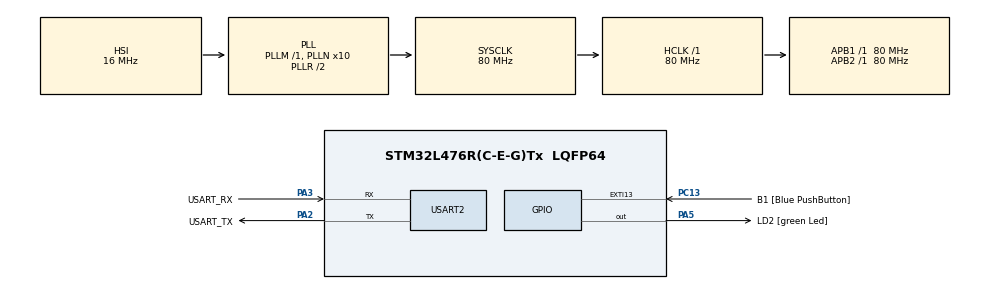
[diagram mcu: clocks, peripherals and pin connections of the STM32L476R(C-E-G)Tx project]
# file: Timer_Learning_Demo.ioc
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Mcu.Family=STM32L4
Mcu.Name=STM32L476R(C-E-G)Tx
Mcu.Package=LQFP64
NVIC.PriorityGroup=NVIC_PRIORITYGROUP_4
PA13\ (JTMS-SWDIO).GPIO_Label=TMS
PA13\ (JTMS-SWDIO).Mode=Serial_Wire
PA13\ (JTMS-SWDIO).Signal=SYS_JTMS-SWDIO
PA14\ (JTCK-SWCLK).GPIO_Label=TCK
PA14\ (JTCK-SWCLK).Mode=Serial_Wire
PA14\ (JTCK-SWCLK).Signal=SYS_JTCK-SWCLK
PA2.GPIO_Label=USART_TX
PA2.GPIO_Mode=GPIO_MODE_AF_PP
PA2.GPIO_PuPd=GPIO_NOPULL
PA2.GPIO_Speed=GPIO_SPEED_FREQ_VERY_HIGH
PA2.Mode=Asynchronous
PA2.Signal=USART2_TX
PA3.GPIO_Label=USART_RX
PA3.GPIO_Mode=GPIO_MODE_AF_PP
PA3.GPIO_PuPd=GPIO_NOPULL
PA3.GPIO_Speed=GPIO_SPEED_FREQ_VERY_HIGH
PA3.Mode=Asynchronous
PA3.Signal=USART2_RX
PA5.GPIO_Label=LD2 [green Led]
PA5.GPIO_ModeDefaultOutputPP=GPIO_MODE_OUTPUT_PP
PA5.GPIO_PuPd=GPIO_NOPULL
PA5.GPIO_Speed=GPIO_SPEED_FREQ_LOW
PA5.Signal=GPIO_Output
PB3\ (JTDO-TRACESWO).GPIO_Label=SWO
PB3\ (JTDO-TRACESWO).Signal=SYS_JTDO-SWO
PC13.GPIO_Label=B1 [Blue PushButton]
PC13.GPIO_ModeDefaultEXTI=GPIO_MODE_IT_FALLING
PC13.GPIO_PuPd=GPIO_NOPULL
PC13.Signal=GPXTI13
PC14-OSC32_IN\ (PC14).Mode=LSE-External-Oscillator
PC14-OSC32_IN\ (PC14).Signal=RCC_OSC32_IN
PC15-OSC32_OUT\ (PC15).Mode=LSE-External-Oscillator
PC15-OSC32_OUT\ (PC15).Signal=RCC_OSC32_OUT
PH0-OSC_IN\ (PH0).Signal=RCC_OSC_IN
PH1-OSC_OUT\ (PH1).Signal=RCC_OSC_OUT
ProjectManager.HeapSize=0x200
ProjectManager.StackSize=0x400
ProjectManager.TargetToolchain=STM32CubeIDE
RCC.ADCFreq_Value=64000000
RCC.AHBFreq_Value=80000000
RCC.APB1Freq_Value=80000000
RCC.APB1TimFreq_Value=80000000
RCC.APB2Freq_Value=80000000
RCC.APB2TimFreq_Value=80000000
RCC.CortexFreq_Value=80000000
RCC.HCLKFreq_Value=80000000
RCC.HSE_VALUE=8000000
RCC.HSI_VALUE=16000000
RCC.MSI_VALUE=4000000
RCC.PLLN=10
RCC.PLLSourceVirtual=RCC_PLLSOURCE_HSI
RCC.PREFETCH_ENABLE=1
RCC.SYSCLKFreq_VALUE=80000000
RCC.SYSCLKSource=RCC_SYSCLKSOURCE_PLLCLK
RCC.USBFreq_Value=64000000
RCC.VCOOutputFreq_Value=160000000
TIM16.Period=65536 - 1
TIM16.Prescaler=80 - 1
USART2.VirtualMode-Asynchronous=VM_ASYNC
VP_TIM16_VS_ClockSourceINT.Mode=Enable_Timer
board=NUCLEO-L476RG

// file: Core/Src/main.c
/* USER CODE BEGIN Header */
/**
  ******************************************************************************
  * @file           : main.c
  * @brief          : Main program body
  ******************************************************************************
  * @attention
  *
  * Copyright (c) 2024 STMicroelectronics.
  * All rights reserved.
  *
  * This software is licensed under terms that can be found in the LICENSE file
  * in the root directory of this software component.
  * If no LICENSE file comes with this software, it is provided AS-IS.
  *
  ******************************************************************************
  */
/* USER CODE END Header */
#include "main.h"
#include "stm32f4xx_hal.h"

TIM_HandleTypeDef htim16;

UART_HandleTypeDef huart2;

void SystemClock_Config(void);
static void MX_GPIO_Init(void);
static void MX_USART2_UART_Init(void);
static void MX_TIM16_Init(void);

/* USER CODE BEGIN 0 */
#define SER_Pin GPIO_PIN_7
#define SRCLK_Pin GPIO_PIN_5
#define RCLK_Pin GPIO_PIN_6
#define SER_Port GPIOA
#define SRCLK_Port GPIOA
#define RCLK_Port GPIOA

// Function to send one byte to the 74HC595
void shiftOut(uint8_t data) {
    for (int i = 7; i >= 0; i--) {
        // Write data bit by bit
        HAL_GPIO_WritePin(SER_Port, SER_Pin, (data & (1 << i)) ? GPIO_PIN_SET : GPIO_PIN_RESET);

        // Toggle SRCLK to shift the bit
        HAL_GPIO_WritePin(SRCLK_Port, SRCLK_Pin, GPIO_PIN_SET);
        HAL_Delay(1);  // small delay for stability
        HAL_GPIO_WritePin(SRCLK_Port, SRCLK_Pin, GPIO_PIN_RESET);
    }
}

// Function to latch output
void latch() {
    HAL_GPIO_WritePin(RCLK_Port, RCLK_Pin, GPIO_PIN_SET);
    HAL_Delay(1);  // small delay for stability
    HAL_GPIO_WritePin(RCLK_Port, RCLK_Pin, GPIO_PIN_RESET);
}
/* USER CODE END 0 */

int main(void)
{

  /* USER CODE BEGIN 1 */
	char uart_buf[50];
	int uart_buf_len;
	uint16_t timer_val;
  /* USER CODE END 1 */

  /* MCU Configuration--------------------------------------------------------*/

  /* Reset of all peripherals, Initializes the Flash interface and the Systick. */
  HAL_Init();

  /* Configure the system clock */
  SystemClock_Config();

  /* Initialize all configured peripherals */
  MX_GPIO_Init();
  MX_USART2_UART_Init();
  MX_TIM16_Init();
  /* USER CODE BEGIN 2 */
  // Say something
  uart_buf_len = sprintf(uart_buf, "Timer Test\r\n");
  HAL_UART_Transmit(&huart2, (uint8_t *)uart_buf, uart_buf_len, 100);

  // Start timer
  HAL_TIM_Base_Start(&htim16);
  /* USER CODE END 2 */

  /* Infinite loop */
  /* USER CODE BEGIN WHILE */
  while (1)
  {
	  timer_val = __HAL_TIM_GET_COUNTER(&htim16);

	  // Wait for 50 ms
	  HAL_Delay(50);
	  // Get time elapsed
	  timer_val = __HAL_TIM_GET_COUNTER(&htim16) - timer_val;

	  //Show elapsed time
	  uart_buf_len = sprintf(uart_buf,"%u us\r\n",timer_val);
	  HAL_UART_Transmit(&huart2,(uint8_t *)uart_buf, uart_buf_len, 100);
	  // Wait so we won't flood the terminal
	  HAL_Delay(1000);
    /* USER CODE END WHILE */

  }
}

void SystemClock_Config(void)
{
  RCC_OscInitTypeDef RCC_OscInitStruct = {0};
  RCC_ClkInitTypeDef RCC_ClkInitStruct = {0};

  /** Configure the main internal regulator output voltage
  */
  if (HAL_PWREx_ControlVoltageScaling(PWR_REGULATOR_VOLTAGE_SCALE1) != HAL_OK)
  {
    Error_Handler();
  }

  /** Initializes the RCC Oscillators according to the specified parameters
  * in the RCC_OscInitTypeDef structure.
  */
  RCC_OscInitStruct.OscillatorType = RCC_OSCILLATORTYPE_HSI;
  RCC_OscInitStruct.HSIState = RCC_HSI_ON;
  RCC_OscInitStruct.HSICalibrationValue = RCC_HSICALIBRATION_DEFAULT;
  RCC_OscInitStruct.PLL.PLLState = RCC_PLL_ON;
  RCC_OscInitStruct.PLL.PLLSource = RCC_PLLSOURCE_HSI;
  RCC_OscInitStruct.PLL.PLLM = 1;
  RCC_OscInitStruct.PLL.PLLN = 10;
  RCC_OscInitStruct.PLL.PLLP = RCC_PLLP_DIV7;
  RCC_OscInitStruct.PLL.PLLQ = RCC_PLLQ_DIV2;
  RCC_OscInitStruct.PLL.PLLR = RCC_PLLR_DIV2;
  if (HAL_RCC_OscConfig(&RCC_OscInitStruct) != HAL_OK)
  {
    Error_Handler();
  }

  /** Initializes the CPU, AHB and APB buses clocks
  */
  RCC_ClkInitStruct.ClockType = RCC_CLOCKTYPE_HCLK|RCC_CLOCKTYPE_SYSCLK
                              |RCC_CLOCKTYPE_PCLK1|RCC_CLOCKTYPE_PCLK2;
  RCC_ClkInitStruct.SYSCLKSource = RCC_SYSCLKSOURCE_PLLCLK;
  RCC_ClkInitStruct.AHBCLKDivider = RCC_SYSCLK_DIV1;
  RCC_ClkInitStruct.APB1CLKDivider = RCC_HCLK_DIV1;
  RCC_ClkInitStruct.APB2CLKDivider = RCC_HCLK_DIV1;

  if (HAL_RCC_ClockConfig(&RCC_ClkInitStruct, FLASH_LATENCY_4) != HAL_OK)
  {
    Error_Handler();
  }
}

static void MX_TIM16_Init(void)
{

  htim16.Instance = TIM16;
  htim16.Init.Prescaler = 80 - 1;
  htim16.Init.CounterMode = TIM_COUNTERMODE_UP;
  htim16.Init.Period = 65536 - 1;
  htim16.Init.ClockDivision = TIM_CLOCKDIVISION_DIV1;
  htim16.Init.RepetitionCounter = 0;
  htim16.Init.AutoReloadPreload = TIM_AUTORELOAD_PRELOAD_DISABLE;
  if (HAL_TIM_Base_Init(&htim16) != HAL_OK)
  {
    Error_Handler();
  }

}

static void MX_USART2_UART_Init(void)
{

  huart2.Instance = USART2;
  huart2.Init.BaudRate = 115200;
  huart2.Init.WordLength = UART_WORDLENGTH_8B;
  huart2.Init.StopBits = UART_STOPBITS_1;
  huart2.Init.Parity = UART_PARITY_NONE;
  huart2.Init.Mode = UART_MODE_TX_RX;
  huart2.Init.HwFlowCtl = UART_HWCONTROL_NONE;
  huart2.Init.OverSampling = UART_OVERSAMPLING_16;
  huart2.Init.OneBitSampling = UART_ONE_BIT_SAMPLE_DISABLE;
  huart2.AdvancedInit.AdvFeatureInit = UART_ADVFEATURE_NO_INIT;
  if (HAL_UART_Init(&huart2) != HAL_OK)
  {
    Error_Handler();
  }

}

static void MX_GPIO_Init(void)
{
  GPIO_InitTypeDef GPIO_InitStruct = {0};

  /* GPIO Ports Clock Enable */
  __HAL_RCC_GPIOC_CLK_ENABLE();
  __HAL_RCC_GPIOH_CLK_ENABLE();
  __HAL_RCC_GPIOA_CLK_ENABLE();
  __HAL_RCC_GPIOB_CLK_ENABLE();

  /*Configure GPIO pin Output Level */
  HAL_GPIO_WritePin(LD2_GPIO_Port, LD2_Pin, GPIO_PIN_RESET);

  /*Configure GPIO pin : B1_Pin */
  GPIO_InitStruct.Pin = B1_Pin;
  GPIO_InitStruct.Mode = GPIO_MODE_IT_FALLING;
  GPIO_InitStruct.Pull = GPIO_NOPULL;
  HAL_GPIO_Init(B1_GPIO_Port, &GPIO_InitStruct);

  /*Configure GPIO pin : LD2_Pin */
  GPIO_InitStruct.Pin = LD2_Pin;
  GPIO_InitStruct.Mode = GPIO_MODE_OUTPUT_PP;
  GPIO_InitStruct.Pull = GPIO_NOPULL;
  GPIO_InitStruct.Speed = GPIO_SPEED_FREQ_LOW;
  HAL_GPIO_Init(LD2_GPIO_Port, &GPIO_InitStruct);

}

void Error_Handler(void)
{
  __disable_irq();
  while (1)
  {
  }
}
